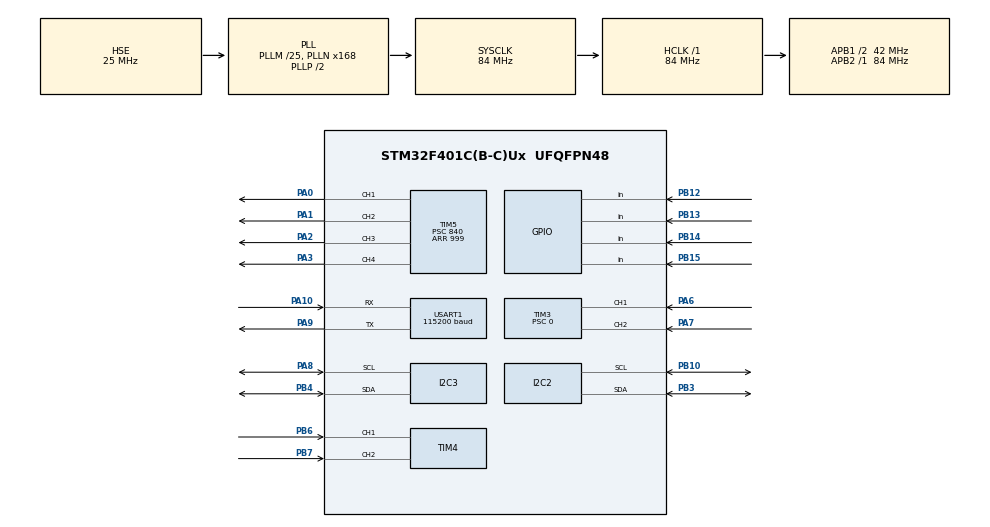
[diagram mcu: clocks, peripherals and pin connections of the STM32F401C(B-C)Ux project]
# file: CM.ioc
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Mcu.Family=STM32F4
Mcu.Name=STM32F401C(B-C)Ux
Mcu.Package=UFQFPN48
NVIC.PriorityGroup=NVIC_PRIORITYGROUP_4
NVIC.TIM1_UP_TIM10_IRQn=true\:0\:0\:false\:false\:true\:true\:true
PA0-WKUP.Signal=S_TIM5_CH1
PA1.Signal=S_TIM5_CH2
PA10.Mode=Asynchronous
PA10.Signal=USART1_RX
PA13.Mode=Serial_Wire
PA13.Signal=SYS_JTMS-SWDIO
PA14.Mode=Serial_Wire
PA14.Signal=SYS_JTCK-SWCLK
PA2.Signal=S_TIM5_CH3
PA3.Signal=S_TIM5_CH4
PA6.Signal=S_TIM3_CH1
PA7.Signal=S_TIM3_CH2
PA8.Mode=I2C
PA8.Signal=I2C3_SCL
PA9.Mode=Asynchronous
PA9.Signal=USART1_TX
PB10.Mode=I2C
PB10.Signal=I2C2_SCL
PB12.Signal=GPIO_Input
PB13.Signal=GPIO_Input
PB14.Signal=GPIO_Input
PB15.Signal=GPIO_Input
PB3.Mode=I2C
PB3.Signal=I2C2_SDA
PB4.Mode=I2C
PB4.Signal=I2C3_SDA
PB6.Signal=S_TIM4_CH1
PB7.Signal=S_TIM4_CH2
PH0\ -\ OSC_IN.Mode=HSE-External-Oscillator
PH0\ -\ OSC_IN.Signal=RCC_OSC_IN
PH1\ -\ OSC_OUT.Mode=HSE-External-Oscillator
PH1\ -\ OSC_OUT.Signal=RCC_OSC_OUT
ProjectManager.HeapSize=0x200
ProjectManager.StackSize=0x400
ProjectManager.TargetToolchain=MDK-ARM V5.27
RCC.48MHZClocksFreq_Value=42000000
RCC.AHBFreq_Value=84000000
RCC.APB1CLKDivider=RCC_HCLK_DIV2
RCC.APB1Freq_Value=42000000
RCC.APB1TimFreq_Value=84000000
RCC.APB2Freq_Value=84000000
RCC.APB2TimFreq_Value=84000000
RCC.CortexFreq_Value=84000000
RCC.HCLKFreq_Value=84000000
RCC.HSE_VALUE=25000000
RCC.HSI_VALUE=16000000
RCC.LSE_VALUE=32768
RCC.PLLM=25
RCC.PLLN=168
RCC.PLLSourceVirtual=RCC_PLLSOURCE_HSE
RCC.SYSCLKFreq_VALUE=84000000
RCC.SYSCLKSource=RCC_SYSCLKSOURCE_PLLCLK
RCC.VCOOutputFreq_Value=168000000
SH.S_TIM3_CH1.0=TIM3_CH1,Encoder_Interface
SH.S_TIM3_CH2.0=TIM3_CH2,Encoder_Interface
SH.S_TIM4_CH1.0=TIM4_CH1,Encoder_Interface
SH.S_TIM4_CH2.0=TIM4_CH2,Encoder_Interface
SH.S_TIM5_CH1.0=TIM5_CH1,PWM Generation1 CH1
SH.S_TIM5_CH2.0=TIM5_CH2,PWM Generation2 CH2
SH.S_TIM5_CH3.0=TIM5_CH3,PWM Generation3 CH3
SH.S_TIM5_CH4.0=TIM5_CH4,PWM Generation4 CH4
TIM1.AutoReloadPreload=TIM_AUTORELOAD_PRELOAD_ENABLE
TIM1.Period=99
TIM1.Prescaler=8400
TIM3.CounterMode=TIM_COUNTERMODE_UP
TIM3.EncoderMode=TIM_ENCODERMODE_TI12
TIM3.Period=65535
TIM3.Prescaler=0
TIM4.EncoderMode=TIM_ENCODERMODE_TI12
TIM5.Channel-PWM\ Generation1\ CH1=TIM_CHANNEL_1
TIM5.Channel-PWM\ Generation2\ CH2=TIM_CHANNEL_2
TIM5.Channel-PWM\ Generation3\ CH3=TIM_CHANNEL_3
TIM5.Channel-PWM\ Generation4\ CH4=TIM_CHANNEL_4
TIM5.Period=999
TIM5.Prescaler=840
USART1.BaudRate=115200
USART1.VirtualMode=VM_ASYNC
VP_TIM1_VS_ClockSourceINT.Mode=Internal
board=custom

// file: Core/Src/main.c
/* USER CODE BEGIN Header */
/**
  ******************************************************************************
  * @file           : main.c
  * @brief          : Main program body
  ******************************************************************************
  * @attention
  *
  * <h2><center>&copy; Copyright (c) 2021 STMicroelectronics.
  * All rights reserved.</center></h2>
  *
  * This software component is licensed by ST under BSD 3-Clause license,
  * the "License"; You may not use this file except in compliance with the
  * License. You may obtain a copy of the License at:
  *                        opensource.org/licenses/BSD-3-Clause
  *
  ******************************************************************************
  */
/* USER CODE END Header */
#include "main.h"
#include "i2c.h"
#include "tim.h"
#include "usart.h"
#include "gpio.h"

/* USER CODE BEGIN Includes */
#include "bsp_imu.h"
#include "stdio.h"
#include "pid.h"
#include "math.h"
/* USER CODE END Includes */

/* USER CODE BEGIN PV */
uint16_t MotorSpeed1 = 0, MotorSpeed2 = 0;//寄存器CNT的值是16位在后面的printf中强转为int
fp32 PWM1 = 0,PWM2 = 0;
fp32 speed_pid_parameters1[] = {8,0.001,0};//8 0.001 0
fp32 speed_pid_parameters2[] = {8,0.001,0};//左轮调i1 0.1 0
fp32 angle1_pid_parameters[] = {8,0,50};//50
fp32 angle2_pid_parameters[] = {8,0,50};//50
fp32 site1_pid_parameters[] = {1,0,0};//800 0 400
fp32 site2_pid_parameters[] = {0,0,0};//800 0 400
fp32 Angle = -9;// 0.405 -2.785
uint8_t Front = 2;
uint8_t Flag = 0;
fp32 kp = 1;
fp32 PWM = 0;
uint8_t Num1 = 0, Num2 = 0;
//fp32 N = 10;//圈数
//uint16_t circle = 280;//一圈的编码器计数值
//前进给3度ok
/* USER CODE END PV */

void SystemClock_Config(void);

int main(void)
{

  /* MCU Configuration--------------------------------------------------------*/

  /* Reset of all peripherals, Initializes the Flash interface and the Systick. */
  HAL_Init();

  /* Configure the system clock */
  SystemClock_Config();

  /* Initialize all configured peripherals */
  MX_GPIO_Init();
  MX_I2C3_Init();
  MX_TIM4_Init();
  MX_TIM5_Init();
  MX_USART1_UART_Init();
  MX_TIM3_Init();
  MX_TIM1_Init();
  MX_I2C2_Init();
  /* USER CODE BEGIN 2 */
	MPU6050Init();
	HAL_TIM_Base_Start_IT(&htim1);
	HAL_TIM_PWM_Start(&htim5, TIM_CHANNEL_1);	    // TIM3_CH1(pwm)
	HAL_TIM_PWM_Start(&htim5, TIM_CHANNEL_2);	    // TIM3_CH2(pwm)
	HAL_TIM_PWM_Start(&htim5, TIM_CHANNEL_3);	    // TIM3_CH3(pwm)
  HAL_TIM_PWM_Start(&htim5, TIM_CHANNEL_4);	    // TIM3_CH4(pwm)
  HAL_TIM_Encoder_Start(&htim3, TIM_CHANNEL_1); // 电机1开启编码器AB
  HAL_TIM_Encoder_Start(&htim3, TIM_CHANNEL_2); // 电机1开启编码器AB
  HAL_TIM_Encoder_Start(&htim4, TIM_CHANNEL_1); // 电机1开启编码器AB
	HAL_TIM_Encoder_Start(&htim4, TIM_CHANNEL_2); // 电机2开启编码器AB
	__HAL_TIM_SET_COUNTER(&htim3,100);
	__HAL_TIM_SET_COUNTER(&htim4,100);
  PID_Init(&site1, PID_POSITION, site1_pid_parameters, 1000, 1000);//调？？速度max
	PID_Init(&site2, PID_POSITION, site2_pid_parameters, 1000, 1000);//调？？速度m
	PID_Init(&angle1, PID_POSITION, angle1_pid_parameters, 1000, 1000);//调？？速度max
  PID_Init(&angle2, PID_POSITION, angle2_pid_parameters, 1000, 1000);//调？？速度max
  PID_Init(&speed1, PID_POSITION, speed_pid_parameters1,	1000,1000);//调？？PWM max
  PID_Init(&speed2, PID_POSITION, speed_pid_parameters2,	1000,1000);//调？？PWM max

  /* USER CODE END 2 */

  /* Infinite loop */
  while (1)
  {

    /* USER CODE BEGIN 3 */
		MPU6050ReturnData();
  }
  /* USER CODE END 3 */
}

void SystemClock_Config(void)
{
  RCC_OscInitTypeDef RCC_OscInitStruct = {0};
  RCC_ClkInitTypeDef RCC_ClkInitStruct = {0};

  /** Configure the main internal regulator output voltage
  */
  __HAL_RCC_PWR_CLK_ENABLE();
  __HAL_PWR_VOLTAGESCALING_CONFIG(PWR_REGULATOR_VOLTAGE_SCALE2);
  /** Initializes the RCC Oscillators according to the specified parameters
  * in the RCC_OscInitTypeDef structure.
  */
  RCC_OscInitStruct.OscillatorType = RCC_OSCILLATORTYPE_HSE;
  RCC_OscInitStruct.HSEState = RCC_HSE_ON;
  RCC_OscInitStruct.PLL.PLLState = RCC_PLL_ON;
  RCC_OscInitStruct.PLL.PLLSource = RCC_PLLSOURCE_HSE;
  RCC_OscInitStruct.PLL.PLLM = 25;
  RCC_OscInitStruct.PLL.PLLN = 168;
  RCC_OscInitStruct.PLL.PLLP = RCC_PLLP_DIV2;
  RCC_OscInitStruct.PLL.PLLQ = 4;
  if (HAL_RCC_OscConfig(&RCC_OscInitStruct) != HAL_OK)
  {
    Error_Handler();
  }
  /** Initializes the CPU, AHB and APB buses clocks
  */
  RCC_ClkInitStruct.ClockType = RCC_CLOCKTYPE_HCLK|RCC_CLOCKTYPE_SYSCLK
                              |RCC_CLOCKTYPE_PCLK1|RCC_CLOCKTYPE_PCLK2;
  RCC_ClkInitStruct.SYSCLKSource = RCC_SYSCLKSOURCE_PLLCLK;
  RCC_ClkInitStruct.AHBCLKDivider = RCC_SYSCLK_DIV1;
  RCC_ClkInitStruct.APB1CLKDivider = RCC_HCLK_DIV2;
  RCC_ClkInitStruct.APB2CLKDivider = RCC_HCLK_DIV1;

  if (HAL_RCC_ClockConfig(&RCC_ClkInitStruct, FLASH_LATENCY_2) != HAL_OK)
  {
    Error_Handler();
  }
}

/* USER CODE BEGIN 4 */
int fputc(int ch, FILE *f)
{
	HAL_UART_Transmit(&huart1,(uint8_t *)&ch,1,HAL_MAX_DELAY);
	return ch;
}

/*定时器*/

void HAL_TIM_PeriodElapsedCallback(TIM_HandleTypeDef *htim)
{//10ms
	if(htim ->Instance == TIM1)
	{
		MotorSpeed1 = __HAL_TIM_GET_COUNTER(&htim4);//获得10ms采样脉冲cm/s
		MotorSpeed2 = __HAL_TIM_GET_COUNTER(&htim3);//获得10ms采样脉冲cm/s
		PWM = PID_Calc(&site1,MotorSpeed2-MotorSpeed1,10);
		x();
		__HAL_TIM_SET_COUNTER(&htim4,100);  // 计数器清零
  	__HAL_TIM_SET_COUNTER(&htim3,100);  // 计数器清零
		printf("%d,%d,%f,%f\r\n",MotorSpeed1,MotorSpeed2,angle1.out,imu.pit);//右偏正 右轮是1
	}
}
void x(void)
{
  PID_Calc(&angle1, imu.rol,Front+Angle);// 给偏差+3前进
	PID_Calc(&angle2, imu.rol,Front+Angle);//
  if(angle1.out<0)
		{
			PWM1 = PID_Calc(&speed1, MotorSpeed1-100,-angle1.out-(uint8_t)PWM);//右轮 = 1
			PWM2 = PID_Calc(&speed2, MotorSpeed2-100,-angle2.out+(uint8_t)PWM);	//左轮 = 2
			__HAL_TIM_SET_COMPARE(&htim5, TIM_CHANNEL_1, 0);
			__HAL_TIM_SET_COMPARE(&htim5, TIM_CHANNEL_2, (uint16_t)PWM2);
			__HAL_TIM_SET_COMPARE(&htim5, TIM_CHANNEL_3, 0);
			__HAL_TIM_SET_COMPARE(&htim5, TIM_CHANNEL_4, (uint16_t)PWM1);
		}
		else
		{
			PWM1 = PID_Calc(&speed1, MotorSpeed1-100,angle1.out-(uint8_t)PWM);	//右轮 = 1
			PWM2 = PID_Calc(&speed2, MotorSpeed2-100,angle2.out+(uint8_t)PWM);	//左轮 = 2
			__HAL_TIM_SET_COMPARE(&htim5, TIM_CHANNEL_1, (uint16_t)PWM2);
			__HAL_TIM_SET_COMPARE(&htim5, TIM_CHANNEL_2, 0);
			__HAL_TIM_SET_COMPARE(&htim5, TIM_CHANNEL_3, (uint16_t)PWM1);
			__HAL_TIM_SET_COMPARE(&htim5, TIM_CHANNEL_4, 0);

		}
}
void Go(void)
{
	PID_Calc(&angle1, imu.rol,Front+Angle);// 给偏差+3前进
	PID_Calc(&angle2, imu.rol,Front+Angle);//
  if(angle1.out<0)
		{
			PWM1 = PID_Calc(&speed1, MotorSpeed1-100,-angle1.out);//右轮 = 1
			PWM2 = PID_Calc(&speed2, MotorSpeed2-100,-angle2.out);	//左轮 = 2
			__HAL_TIM_SET_COMPARE(&htim5, TIM_CHANNEL_1, 0);
			__HAL_TIM_SET_COMPARE(&htim5, TIM_CHANNEL_2, (uint16_t)PWM2);
			__HAL_TIM_SET_COMPARE(&htim5, TIM_CHANNEL_3, 0);
			__HAL_TIM_SET_COMPARE(&htim5, TIM_CHANNEL_4, (uint16_t)PWM1);
		}
		else
		{
			PWM1 = PID_Calc(&speed1, MotorSpeed1-100,angle1.out);	//右轮 = 1
			PWM2 = PID_Calc(&speed2, MotorSpeed2-100,angle2.out);	//左轮 = 2
			__HAL_TIM_SET_COMPARE(&htim5, TIM_CHANNEL_1, (uint16_t)PWM2);
			__HAL_TIM_SET_COMPARE(&htim5, TIM_CHANNEL_2, 0);
			__HAL_TIM_SET_COMPARE(&htim5, TIM_CHANNEL_3, (uint16_t)PWM1);
			__HAL_TIM_SET_COMPARE(&htim5, TIM_CHANNEL_4, 0);

		}
}
void Left(void)
{
  	PID_Calc(&angle1, imu.rol,Angle);// 给偏差+3前进
		PID_Calc(&angle2, imu.rol,Angle);//
    if(angle1.out<0)
		{
			PWM1 = PID_Calc(&speed1, MotorSpeed1-100,-angle1.out);//右轮 = 1
			PWM2 = PID_Calc(&speed2, MotorSpeed2-100,-angle2.out);	//左轮 = 2
			__HAL_TIM_SET_COMPARE(&htim5, TIM_CHANNEL_1, (uint16_t)PWM2);
			__HAL_TIM_SET_COMPARE(&htim5, TIM_CHANNEL_2, 0);
			__HAL_TIM_SET_COMPARE(&htim5, TIM_CHANNEL_3, (uint16_t)PWM1);
			__HAL_TIM_SET_COMPARE(&htim5, TIM_CHANNEL_4, 0);
		}
		else
		{
			PWM1 = PID_Calc(&speed1, MotorSpeed1-100,angle1.out);	//右轮 = 1
			PWM2 = PID_Calc(&speed2, MotorSpeed2-100,angle2.out);	//左轮 = 2
			__HAL_TIM_SET_COMPARE(&htim5, TIM_CHANNEL_1, (uint16_t)PWM2);
			__HAL_TIM_SET_COMPARE(&htim5, TIM_CHANNEL_2, 0);
			__HAL_TIM_SET_COMPARE(&htim5, TIM_CHANNEL_3, (uint16_t)PWM1);
			__HAL_TIM_SET_COMPARE(&htim5, TIM_CHANNEL_4, 0);

		}
}
void Right(void)
{
    PID_Calc(&angle1, imu.rol,Angle);// 给偏差+3前进
		PID_Calc(&angle2, imu.rol,Angle);//
		PWM1 = PID_Calc(&speed1, MotorSpeed1-100,angle1.out-(uint8_t)PWM);//右轮 = 1
		PWM2 = PID_Calc(&speed2, MotorSpeed2-100,angle2.out+(uint8_t)PWM);	//左轮 = 2
		__HAL_TIM_SET_COMPARE(&htim5, TIM_CHANNEL_2, (uint16_t)PWM2);
		__HAL_TIM_SET_COMPARE(&htim5, TIM_CHANNEL_1, 0);
		__HAL_TIM_SET_COMPARE(&htim5, TIM_CHANNEL_4, (uint16_t)PWM1);
		__HAL_TIM_SET_COMPARE(&htim5, TIM_CHANNEL_3, 0);
}
void Judge(void)
{
		if(Flag == 2)
		{
			Right();
		}
		if((HAL_GPIO_ReadPin(GPIOB,GPIO_PIN_14)==RESET))
		{
			Flag = 2;
			Right();
			HAL_Delay(5);
		}
}

/* USER CODE END 4 */

void Error_Handler(void)
{
  __disable_irq();
  while (1)
  {
  }
}

/************************ (C) COPYRIGHT STMicroelectronics *****END OF FILE****/
